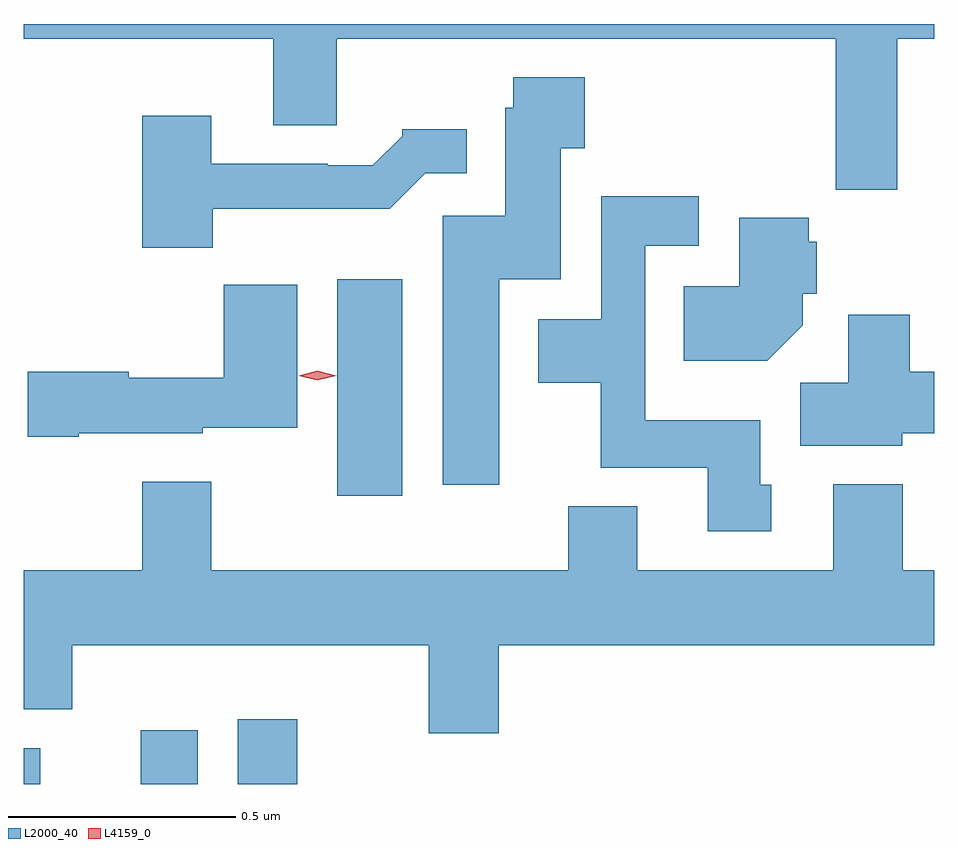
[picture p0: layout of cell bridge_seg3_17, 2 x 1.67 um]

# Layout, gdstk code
import gdstk
lib = gdstk.Library(unit=1e-6, precision=1e-09)
def R(c, l, rs):  # rectangles x0, y0, x1, y1
    for r in rs: c.add(gdstk.rectangle(r[:2], r[2:], *l))
def P(c, l, *ps):  # polygons
    for p in ps: c.add(gdstk.Polygon(p, *l))
L2000_40 = (2000, 40)
L4159_0 = (4159, 0)

bridge_seg3_17 = lib.new_cell('bridge_seg3_17')
R(bridge_seg3_17, L2000_40, [(773.829,747.231,773.865,747.31), (774.086,747.231,774.211,747.349), (774.299,747.231,774.43,747.373), (774.518,747.864,774.661,748.339)])
P(bridge_seg3_17, L2000_40, [(775.748,748.868),(775.829,748.868),(775.829,748.9),(773.829,748.9),(773.829,748.868),(774.377,748.868),(774.377,748.678),(774.517,748.678),(774.517,748.868),(775.612,748.868),(775.612,748.536),(775.748,748.536)],
  [(774.874,748.34),(775.009,748.34),(775.009,748.627),(775.061,748.627),(775.061,748.783),(774.904,748.783),(774.904,748.716),(774.887,748.716),(774.887,748.479),(774.749,748.479),(774.749,747.888),(774.874,747.888)],
  [(774.244,748.494),(774.633,748.494),(774.711,748.572),(774.802,748.572),(774.802,748.669),(774.66,748.669),(774.66,748.654),(774.596,748.59),(774.497,748.59),(774.497,748.593),(774.241,748.593),(774.241,748.699),(774.089,748.699),(774.089,748.409),(774.244,748.409)],
  [(775.471,747.888),(775.447,747.888),(775.447,748.03),(775.194,748.03),(775.194,748.413),(775.312,748.413),(775.312,748.522),(775.098,748.522),(775.098,748.252),(774.959,748.252),(774.959,748.112),(775.096,748.112),(775.096,747.926),(775.331,747.926),(775.331,747.786),(775.471,747.786)],
  [(775.54,748.238),(775.54,748.308),(775.571,748.308),(775.571,748.422),(775.553,748.422),(775.553,748.474),(775.4,748.474),(775.4,748.324),(775.279,748.324),(775.279,748.16),(775.462,748.16)],
  [(773.95,748.001),(774.222,748.001),(774.222,748.013),(774.43,748.013),(774.43,748.327),(774.268,748.327),(774.268,748.123),(774.06,748.123),(774.06,748.136),(773.838,748.136),(773.838,747.994),(773.95,747.994)],
  [(775.758,748.001),(775.829,748.001),(775.829,748.136),(775.775,748.136),(775.775,748.261),(775.64,748.261),(775.64,748.112),(775.535,748.112),(775.535,747.974),(775.758,747.974)],
  [(774.872,747.536),(775.829,747.536),(775.829,747.7),(775.76,747.7),(775.76,747.889),(775.607,747.889),(775.607,747.7),(775.177,747.7),(775.177,747.841),(775.025,747.841),(775.025,747.7),(774.241,747.7),(774.241,747.895),(774.089,747.895),(774.089,747.7),(773.829,747.7),(773.829,747.395),(773.936,747.395),(773.936,747.536),(774.719,747.536),(774.719,747.342),(774.872,747.342)])
P(bridge_seg3_17, L4159_0, [(774.474,748.118),(774.433,748.127),(774.433,748.128),(774.433,748.128),(774.474,748.138),(774.516,748.128),(774.516,748.127),(774.516,748.127)])

lib.write_gds('bridge_seg3_17.gds')
